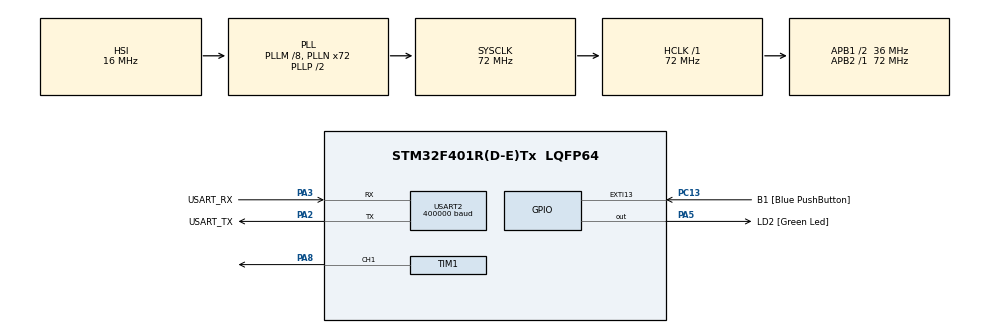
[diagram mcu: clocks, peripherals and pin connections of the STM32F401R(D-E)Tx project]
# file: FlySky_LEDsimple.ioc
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Mcu.Family=STM32F4
PA2.GPIO_PuPd=GPIO_NOPULL
RCC.CortexFreq_Value=72000000
PC13-ANTI_TAMP.GPIO_PuPd=GPIO_NOPULL
PC13-ANTI_TAMP.GPIO_Label=B1 [Blue PushButton]
PA14.GPIO_Label=TCK
PA3.GPIO_PuPd=GPIO_NOPULL
PH1\ -\ OSC_OUT.Mode=HSE-External-Oscillator
PA2.GPIO_Speed=GPIO_SPEED_FREQ_LOW
Dma.TIM1_CH1.0.MemDataAlignment=DMA_MDATAALIGN_HALFWORD
Dma.TIM1_CH1.0.FIFOMode=DMA_FIFOMODE_DISABLE
NVIC.DMA2_Stream1_IRQn=true\:0\:0\:false\:false\:true\:false\:true
RCC.APB1CLKDivider=RCC_HCLK_DIV2
PA3.GPIO_Speed=GPIO_SPEED_FREQ_LOW
Dma.TIM1_CH1.0.PeriphDataAlignment=DMA_PDATAALIGN_HALFWORD
USART2.BaudRate=400000
Dma.TIM1_CH1.0.Priority=DMA_PRIORITY_LOW
RCC.SYSCLKSource=RCC_SYSCLKSOURCE_PLLCLK
ProjectManager.StackSize=0x400
Dma.TIM1_CH1.0.PeriphInc=DMA_PINC_DISABLE
Dma.TIM1_CH1.0.MemInc=DMA_MINC_ENABLE
PA3.Mode=Asynchronous
PA13.Signal=SYS_JTMS-SWDIO
PH0\ -\ OSC_IN.Mode=HSE-External-Oscillator
Dma.TIM1_CH1.0.Mode=DMA_NORMAL
SH.S_TIM1_CH1.0=TIM1_CH1,PWM Generation1 CH1
PH0\ -\ OSC_IN.Signal=RCC_OSC_IN
ProjectManager.TargetToolchain=STM32CubeIDE
PA3.GPIO_Mode=GPIO_MODE_AF_PP
RCC.HCLKFreq_Value=72000000
RCC.APB2TimFreq_Value=72000000
RCC.LSE_VALUE=32768
RCC.AHBFreq_Value=72000000
PA5.Signal=GPIO_Output
RCC.HSE_VALUE=8000000
PH1\ -\ OSC_OUT.Signal=RCC_OSC_OUT
board=NUCLEO-F401RE
PC13-ANTI_TAMP.Signal=GPXTI13
RCC.VCOOutputFreq_Value=144000000
RCC.APB2Freq_Value=72000000
TIM1.Channel-PWM\ Generation1\ CH1=TIM_CHANNEL_1
PA14.Mode=Serial_Wire
PA5.GPIO_PuPd=GPIO_NOPULL
PA8.Signal=S_TIM1_CH1
PA13.Mode=Serial_Wire
Mcu.Name=STM32F401R(D-E)Tx
TIM1.OCMode_PWM-PWM\ Generation1\ CH1=TIM_OCMODE_PWM1
VP_TIM1_VS_ClockSourceINT.Mode=Internal
PA2.Signal=USART2_TX
PA13.GPIO_Label=TMS
Dma.TIM1_CH1.0.Direction=DMA_MEMORY_TO_PERIPH
RCC.48MHZClocksFreq_Value=20571428.57142857
PB3.Signal=SYS_JTDO-SWO
RCC.SYSCLKFreq_VALUE=72000000
Mcu.Package=LQFP64
Dma.TIM1_CH1.0.Instance=DMA2_Stream1
PA5.GPIO_Label=LD2 [Green Led]
USART2.VirtualMode=VM_ASYNC
PC13-ANTI_TAMP.GPIO_ModeDefaultEXTI=GPIO_MODE_IT_FALLING
PA2.GPIO_Label=USART_TX
PA14.Signal=SYS_JTCK-SWCLK
ProjectManager.HeapSize=0x200
RCC.HSI_VALUE=16000000
PA5.GPIO_Speed=GPIO_SPEED_FREQ_LOW
RCC.PLLQ=7
NVIC.PriorityGroup=NVIC_PRIORITYGROUP_0
RCC.PLLM=8
RCC.PLLN=72
RCC.APB1TimFreq_Value=72000000
PA2.Mode=Asynchronous
TIM1.Period=90-1
Dma.Request0=TIM1_CH1
RCC.APB1Freq_Value=36000000
PA5.GPIO_Mode=GPIO_MODE_OUTPUT_PP
PA3.GPIO_Label=USART_RX
PA3.Signal=USART2_RX
PA2.GPIO_Mode=GPIO_MODE_AF_PP
PB3.GPIO_Label=SWO

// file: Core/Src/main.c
/* USER CODE BEGIN Header */
/**
  ******************************************************************************
  * @file           : main.c
  * @brief          : FlySky Paladin EV gimbal LED ring test
  ******************************************************************************
  * @attention
  *
  * Based on WS2812 code from:
  * https://controllerstech.com/interface-ws2812-with-stm32/
  *
  * Connect the LED array to Nucleo-F401RE D7 (PA8)
  ******************************************************************************
  */
/* USER CODE END Header */
#include "main.h"

/* USER CODE BEGIN Includes */
#include <stdbool.h>
/* USER CODE END Includes */

TIM_HandleTypeDef htim1;
DMA_HandleTypeDef hdma_tim1_ch1;
UART_HandleTypeDef huart2;

void SystemClock_Config(void);
static void MX_GPIO_Init(void);
static void MX_DMA_Init(void);
static void MX_USART2_UART_Init(void);
static void MX_TIM1_Init(void);
/* USER CODE BEGIN PFP */
uint32_t hsl_to_rgb(uint8_t h, uint8_t s, uint8_t l);
/* USER CODE END PFP */

/* USER CODE BEGIN 0 */

#define TRACE_TIME_FORMAT     "%0.2f "
#define TRACE_TIME_VALUE      ((float)HAL_GetTick())
#define CRLF "\r\n"

#define PRINTF_BUFFER_SIZE    128

void serialPrintf(const char * format, ...)
{
	va_list arglist;
	char tmp[PRINTF_BUFFER_SIZE + 1];

	snprintf(tmp, PRINTF_BUFFER_SIZE, "+%lu: ", HAL_GetTick());
	va_start(arglist, format);
	vsnprintf(tmp + strlen(tmp), PRINTF_BUFFER_SIZE - strlen(tmp), format, arglist);
	tmp[PRINTF_BUFFER_SIZE] = '\0';
	va_end(arglist);

	const char *t = tmp;
	HAL_UART_Transmit(&huart2, (uint8_t *) t, strlen(t), 10);
}

#define debugPrintf(...) do { serialPrintf(__VA_ARGS__); } while(0)
#define TRACE(f_, ...)        debugPrintf((TRACE_TIME_FORMAT f_ CRLF), TRACE_TIME_VALUE, ##__VA_ARGS__)

#define MAX_LED 4
#define RESETSTEPS 50

uint8_t LED_Data[MAX_LED][3];
volatile bool ledbusbusy=false;
uint16_t pwmData[(24*MAX_LED)+(2*RESETSTEPS)];

void HAL_TIM_PWM_PulseFinishedCallback(TIM_HandleTypeDef *htim)
{
	HAL_TIM_PWM_Stop_DMA(&htim1, TIM_CHANNEL_1);
	ledbusbusy=false;
}

void Set_LED (int LEDnum, int Red, int Green, int Blue)
{
	LED_Data[LEDnum][0] = Green;
	LED_Data[LEDnum][1] = Red;
	LED_Data[LEDnum][2] = Blue;
}

void WS2812_Send (void)
{
	uint32_t indx=0;
	uint32_t color;

	if (ledbusbusy)
	{
		// Ongoing transmission, wait
		while (ledbusbusy){};
	}
	// lock the LED bus
	ledbusbusy = true;

	// DMA off means pin high, need to send reset bus first
	for (int i=0; i<RESETSTEPS; i++)
	{
		pwmData[indx] = 0;
		indx++;
	}

	for (int i=0; i<MAX_LED; i++)
	{
		color = ((LED_Data[i][0]<<16) | (LED_Data[i][1]<<8) | (LED_Data[i][2]));

		for (int i=23; i>=0; i--)
		{
			if (color&(1<<i))
			{
				pwmData[indx] = 60;  // 2/3 of 90
			}

			else pwmData[indx] = 30;  // 1/3 of 90

			indx++;
		}

	}

	// Std. reset pulse at the end
	for (int i=0; i<RESETSTEPS; i++)
	{
		pwmData[indx] = 0;
		indx++;
	}

	HAL_TIM_PWM_Start_DMA(&htim1, TIM_CHANNEL_1, (uint32_t *)pwmData, indx);
}

void Reset_LED (void)
{
	for (int i=0; i<MAX_LED; i++)
	{
		LED_Data[i][0] = 0;
		LED_Data[i][1] = 0;
		LED_Data[i][2] = 0;
	}
}

// ported from the arduino code for 8 LEDs located at ->>>>  https://adrianotiger.github.io/Neopixel-Effect-Generator/

uint16_t effStep = 0;

uint8_t rainbow_effect_left() {
  // Strip ID: 0 - Effect: Rainbow - LEDS: 4
  // Steps: 13 - Delay: 54
  // Colors: 3 (255.0.0, 0.255.0, 0.0.255)
  // Options: rainbowlen=4, toLeft=true,
  float factor1, factor2;
  uint16_t ind;
  for(uint16_t j=0;j<4;j++) {
    ind = effStep + j * 1.625;
    switch((int)((ind % 13) / 4.333333333333333)) {
      case 0: factor1 = 1.0 - ((float)(ind % 13 - 0 * 4.333333333333333) / 4.333333333333333);
              factor2 = (float)((int)(ind - 0) % 13) / 4.333333333333333;
              /************ changed here *********/
              Set_LED(j, 255 * factor1 + 0 * factor2, 0 * factor1 + 255 * factor2, 0 * factor1 + 0 * factor2);
              WS2812_Send();
              break;
      case 1: factor1 = 1.0 - ((float)(ind % 13 - 1 * 4.333333333333333) / 4.333333333333333);
              factor2 = (float)((int)(ind - 4.333333333333333) % 13) / 4.333333333333333;
              Set_LED(j, 0 * factor1 + 0 * factor2, 255 * factor1 + 0 * factor2, 0 * factor1 + 255 * factor2);
              WS2812_Send();
              break;
      case 2: factor1 = 1.0 - ((float)(ind % 13 - 2 * 4.333333333333333) / 4.333333333333333);
              factor2 = (float)((int)(ind - 8.666666666666666) % 13) / 4.333333333333333;
              Set_LED(j, 0 * factor1 + 255 * factor2, 0 * factor1 + 0 * factor2, 255 * factor1 + 0 * factor2);
              WS2812_Send();
              break;
    }
  }
  if(effStep >= 13) {effStep=0; return 0x03; }
  else effStep++;
  return 0x01;
}

uint8_t rainbow_effect_right() {
  // Strip ID: 0 - Effect: Rainbow - LEDS: 8
  // Steps: 14 - Delay: 30
  // Colors: 3 (255.0.0, 0.255.0, 0.0.255)
  // Options: rainbowlen=4, toLeft=false,
  float factor1, factor2;
  uint16_t ind;
  for(uint16_t j=0;j<4;j++) {
    ind = 14 - (int16_t)(effStep - j * 1.75) % 14;
    switch((int)((ind % 14) / 4.666666666666667)) {
      case 0: factor1 = 1.0 - ((float)(ind % 14 - 0 * 4.666666666666667) / 4.666666666666667);
              factor2 = (float)((int)(ind - 0) % 14) / 4.666666666666667;
              Set_LED(j, 255 * factor1 + 0 * factor2, 0 * factor1 + 255 * factor2, 0 * factor1 + 0 * factor2);
              WS2812_Send();
              break;
      case 1: factor1 = 1.0 - ((float)(ind % 14 - 1 * 4.666666666666667) / 4.666666666666667);
              factor2 = (float)((int)(ind - 4.666666666666667) % 14) / 4.666666666666667;
              Set_LED(j, 0 * factor1 + 0 * factor2, 255 * factor1 + 0 * factor2, 0 * factor1 + 255 * factor2);
              WS2812_Send();
              break;
      case 2: factor1 = 1.0 - ((float)(ind % 14 - 2 * 4.666666666666667) / 4.666666666666667);
              factor2 = (float)((int)(ind - 9.333333333333334) % 14) / 4.666666666666667;
              Set_LED(j, 0 * factor1 + 255 * factor2, 0 * factor1 + 0 * factor2, 255 * factor1 + 0 * factor2);
              WS2812_Send();
              break;
    }
  }
  if(effStep >= 14) {effStep = 0; return 0x03; }
  else effStep++;
  return 0x01;
}

/* USER CODE END 0 */

int main(void)
{

  /* MCU Configuration--------------------------------------------------------*/

  /* Reset of all peripherals, Initializes the Flash interface and the Systick. */
  HAL_Init();

  /* Configure the system clock */
  SystemClock_Config();

  /* Initialize all configured peripherals */
  MX_GPIO_Init();
  MX_DMA_Init();
  MX_USART2_UART_Init();
  MX_TIM1_Init();

  /* Infinite loop */
  while (1)
  {

    /* USER CODE BEGIN 3 */
	rainbow_effect_right();
	HAL_Delay(50);
  }
  /* USER CODE END 3 */
}

void SystemClock_Config(void)
{
  RCC_OscInitTypeDef RCC_OscInitStruct = {0};
  RCC_ClkInitTypeDef RCC_ClkInitStruct = {0};

  /** Configure the main internal regulator output voltage
  */
  __HAL_RCC_PWR_CLK_ENABLE();
  __HAL_PWR_VOLTAGESCALING_CONFIG(PWR_REGULATOR_VOLTAGE_SCALE2);
  /** Initializes the RCC Oscillators according to the specified parameters
  * in the RCC_OscInitTypeDef structure.
  */
  RCC_OscInitStruct.OscillatorType = RCC_OSCILLATORTYPE_HSI;
  RCC_OscInitStruct.HSIState = RCC_HSI_ON;
  RCC_OscInitStruct.HSICalibrationValue = RCC_HSICALIBRATION_DEFAULT;
  RCC_OscInitStruct.PLL.PLLState = RCC_PLL_ON;
  RCC_OscInitStruct.PLL.PLLSource = RCC_PLLSOURCE_HSI;
  RCC_OscInitStruct.PLL.PLLM = 8;
  RCC_OscInitStruct.PLL.PLLN = 72;
  RCC_OscInitStruct.PLL.PLLP = RCC_PLLP_DIV2;
  RCC_OscInitStruct.PLL.PLLQ = 7;
  if (HAL_RCC_OscConfig(&RCC_OscInitStruct) != HAL_OK)
  {
    Error_Handler();
  }
  /** Initializes the CPU, AHB and APB buses clocks
  */
  RCC_ClkInitStruct.ClockType = RCC_CLOCKTYPE_HCLK|RCC_CLOCKTYPE_SYSCLK
                              |RCC_CLOCKTYPE_PCLK1|RCC_CLOCKTYPE_PCLK2;
  RCC_ClkInitStruct.SYSCLKSource = RCC_SYSCLKSOURCE_PLLCLK;
  RCC_ClkInitStruct.AHBCLKDivider = RCC_SYSCLK_DIV1;
  RCC_ClkInitStruct.APB1CLKDivider = RCC_HCLK_DIV2;
  RCC_ClkInitStruct.APB2CLKDivider = RCC_HCLK_DIV1;

  if (HAL_RCC_ClockConfig(&RCC_ClkInitStruct, FLASH_LATENCY_2) != HAL_OK)
  {
    Error_Handler();
  }
}

static void MX_TIM1_Init(void)
{

  TIM_ClockConfigTypeDef sClockSourceConfig = {0};
  TIM_MasterConfigTypeDef sMasterConfig = {0};
  TIM_OC_InitTypeDef sConfigOC = {0};
  TIM_BreakDeadTimeConfigTypeDef sBreakDeadTimeConfig = {0};

  htim1.Instance = TIM1;
  htim1.Init.Prescaler = 0;
  htim1.Init.CounterMode = TIM_COUNTERMODE_UP;
  htim1.Init.Period = 90-1;
  htim1.Init.ClockDivision = TIM_CLOCKDIVISION_DIV1;
  htim1.Init.RepetitionCounter = 0;
  htim1.Init.AutoReloadPreload = TIM_AUTORELOAD_PRELOAD_DISABLE;
  if (HAL_TIM_Base_Init(&htim1) != HAL_OK)
  {
    Error_Handler();
  }
  sClockSourceConfig.ClockSource = TIM_CLOCKSOURCE_INTERNAL;
  if (HAL_TIM_ConfigClockSource(&htim1, &sClockSourceConfig) != HAL_OK)
  {
    Error_Handler();
  }
  if (HAL_TIM_PWM_Init(&htim1) != HAL_OK)
  {
    Error_Handler();
  }
  sMasterConfig.MasterOutputTrigger = TIM_TRGO_RESET;
  sMasterConfig.MasterSlaveMode = TIM_MASTERSLAVEMODE_DISABLE;
  if (HAL_TIMEx_MasterConfigSynchronization(&htim1, &sMasterConfig) != HAL_OK)
  {
    Error_Handler();
  }
  sConfigOC.OCMode = TIM_OCMODE_PWM1;
  sConfigOC.Pulse = 0;
  sConfigOC.OCPolarity = TIM_OCPOLARITY_HIGH;
  sConfigOC.OCNPolarity = TIM_OCNPOLARITY_HIGH;
  sConfigOC.OCFastMode = TIM_OCFAST_DISABLE;
  sConfigOC.OCIdleState = TIM_OCIDLESTATE_RESET;
  sConfigOC.OCNIdleState = TIM_OCNIDLESTATE_RESET;
  if (HAL_TIM_PWM_ConfigChannel(&htim1, &sConfigOC, TIM_CHANNEL_1) != HAL_OK)
  {
    Error_Handler();
  }
  sBreakDeadTimeConfig.OffStateRunMode = TIM_OSSR_DISABLE;
  sBreakDeadTimeConfig.OffStateIDLEMode = TIM_OSSI_DISABLE;
  sBreakDeadTimeConfig.LockLevel = TIM_LOCKLEVEL_OFF;
  sBreakDeadTimeConfig.DeadTime = 0;
  sBreakDeadTimeConfig.BreakState = TIM_BREAK_DISABLE;
  sBreakDeadTimeConfig.BreakPolarity = TIM_BREAKPOLARITY_HIGH;
  sBreakDeadTimeConfig.AutomaticOutput = TIM_AUTOMATICOUTPUT_DISABLE;
  if (HAL_TIMEx_ConfigBreakDeadTime(&htim1, &sBreakDeadTimeConfig) != HAL_OK)
  {
    Error_Handler();
  }
  HAL_TIM_MspPostInit(&htim1);

}

static void MX_USART2_UART_Init(void)
{

  huart2.Instance = USART2;
  huart2.Init.BaudRate = 400000;
  huart2.Init.WordLength = UART_WORDLENGTH_8B;
  huart2.Init.StopBits = UART_STOPBITS_1;
  huart2.Init.Parity = UART_PARITY_NONE;
  huart2.Init.Mode = UART_MODE_TX_RX;
  huart2.Init.HwFlowCtl = UART_HWCONTROL_NONE;
  huart2.Init.OverSampling = UART_OVERSAMPLING_16;
  if (HAL_UART_Init(&huart2) != HAL_OK)
  {
    Error_Handler();
  }

}

static void MX_DMA_Init(void)
{

  /* DMA controller clock enable */
  __HAL_RCC_DMA2_CLK_ENABLE();

  /* DMA interrupt init */
  /* DMA2_Stream1_IRQn interrupt configuration */
  HAL_NVIC_SetPriority(DMA2_Stream1_IRQn, 0, 0);
  HAL_NVIC_EnableIRQ(DMA2_Stream1_IRQn);

}

static void MX_GPIO_Init(void)
{
  GPIO_InitTypeDef GPIO_InitStruct = {0};

  /* GPIO Ports Clock Enable */
  __HAL_RCC_GPIOC_CLK_ENABLE();
  __HAL_RCC_GPIOH_CLK_ENABLE();
  __HAL_RCC_GPIOA_CLK_ENABLE();
  __HAL_RCC_GPIOB_CLK_ENABLE();

  /*Configure GPIO pin Output Level */
  HAL_GPIO_WritePin(LD2_GPIO_Port, LD2_Pin, GPIO_PIN_RESET);

  /*Configure GPIO pin : B1_Pin */
  GPIO_InitStruct.Pin = B1_Pin;
  GPIO_InitStruct.Mode = GPIO_MODE_IT_FALLING;
  GPIO_InitStruct.Pull = GPIO_NOPULL;
  HAL_GPIO_Init(B1_GPIO_Port, &GPIO_InitStruct);

  /*Configure GPIO pin : LD2_Pin */
  GPIO_InitStruct.Pin = LD2_Pin;
  GPIO_InitStruct.Mode = GPIO_MODE_OUTPUT_PP;
  GPIO_InitStruct.Pull = GPIO_NOPULL;
  GPIO_InitStruct.Speed = GPIO_SPEED_FREQ_LOW;
  HAL_GPIO_Init(LD2_GPIO_Port, &GPIO_InitStruct);

}

/* USER CODE BEGIN 4 */
// Fast hsl2rgb algorithm: https://stackoverflow.com/questions/13105185/fast-algorithm-for-rgb-hsl-conversion
uint32_t hsl_to_rgb(uint8_t h, uint8_t s, uint8_t l) {
	if(l == 0) return 0;

	volatile uint8_t  r, g, b, lo, c, x, m;
	volatile uint16_t h1, l1, H;
	l1 = l + 1;
	if (l < 128)    c = ((l1 << 1) * s) >> 8;
	else            c = (512 - (l1 << 1)) * s >> 8;

	H = h * 6;              // 0 to 1535 (actually 1530)
	lo = H & 255;           // Low byte  = primary/secondary color mix
	h1 = lo + 1;

	if ((H & 256) == 0)   x = h1 * c >> 8;          // even sextant, like red to yellow
	else                  x = (256 - h1) * c >> 8;  // odd sextant, like yellow to green

	m = l - (c >> 1);
	switch(H >> 8) {       // High byte = sextant of colorwheel
	 case 0 : r = c; g = x; b = 0; break; // R to Y
	 case 1 : r = x; g = c; b = 0; break; // Y to G
	 case 2 : r = 0; g = c; b = x; break; // G to C
	 case 3 : r = 0; g = x; b = c; break; // C to B
	 case 4 : r = x; g = 0; b = c; break; // B to M
	 default: r = c; g = 0; b = x; break; // M to R
	}

	return (((uint32_t)r + m) << 16) | (((uint32_t)g + m) << 8) | ((uint32_t)b + m);
}
/* USER CODE END 4 */

void Error_Handler(void)
{
  __disable_irq();
  while (1)
  {
  }
}

/************************ (C) COPYRIGHT STMicroelectronics *****END OF FILE****/
